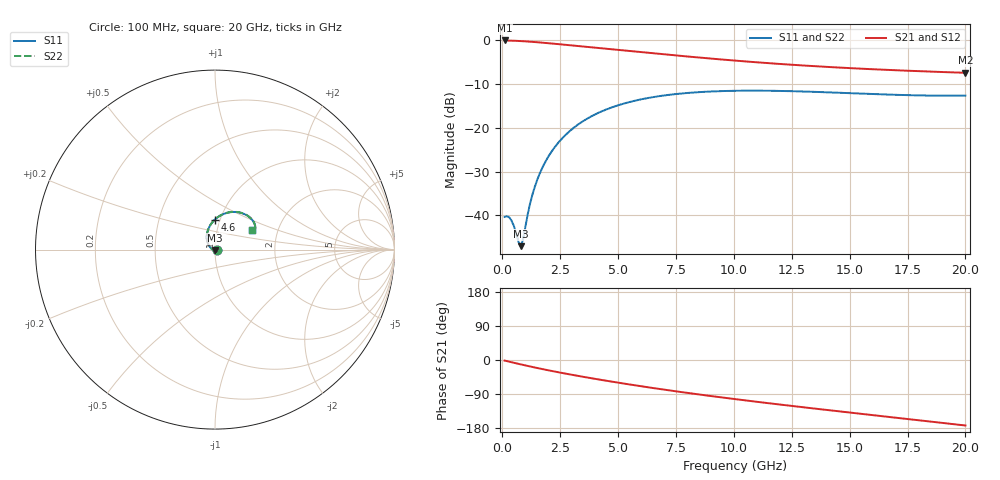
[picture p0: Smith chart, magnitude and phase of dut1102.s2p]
! Touchstone file exported from HFSS 2024.1.0
!  File:  C:/UserFiles/LocalFiles/RDL_TSV_Batchsim/temp_RDL_TSV_1102_1780100773.aedt
!  Generated:  08:36:47 AM May 30, 2026
!  Design:  RDL_TSV
!  Project:  temp_RDL_TSV_1102_1780100773
!  Setup:  Setup1
!  Solution:  Sweep
! Variables:
!  dtsv = 8.98um
!  hbump = 3um
!  htsv = 58.62um
!  ldown = 129.43um
!  lrdl = 570.24um
!  p = 40
!  p1 = 48.9um
!  rhole = 10um
!  subl = 2669.25um
!  t = 450um
!  tdown = 4.1um
!  trdl = 3.95um
!  viad = 10um
!  wdown = 21.9um
!  wrdl = 29.46um
!  xbump = 18um
# GHz S MA R 50.000000
! Terminal data exported
! Port[1] = TM1_1_T1
! Port[2] = TM1_4_T1
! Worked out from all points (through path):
!   200 points, 100 MHz to 20 GHz, reference 50 ohm
!   highest |S21| = -0.09 dB at 100 MHz (marker M1); lowest = -7.5 dB at 20 GHz (marker M2)
!   group delay of S21, straight-line fit = 22.8 ps
!   lowest |S11| = -47.0 dB at 800 MHz (marker M3), VSWR 1.01, Z = 49.9 - j0.439 ohm
!   |S11| at or under -10 dB: start of sweep to end of sweep
!   |S22| runs from -47.0 to -11.5 dB; largest |S21 - S12| = 1.1e-14
!   S11 on the Smith chart (normalised r, x): 100 MHz: 1.02, -0.00; 4.6 GHz: 0.94, +0.32; 20 GHz: 1.46, +0.34
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0.1  0.00962 -0.9  0.9899 -1.5  0.9899 -1.5  0.00962 -0.9
! Gamma 0 0 0 0
! Port Impedance 50 0 50 0
0.3  0.009503 -11.7  0.9867 -4.5  0.9867 -4.5  0.0095 -11.7
0.4  0.00873 -19.9  0.9847 -5.9  0.9847 -5.9  0.008724 -19.9
0.5  0.007588 -30.1  0.9825 -7.4  0.9825 -7.4  0.007578 -30.1
0.7  0.00498 -66.5  0.9771 -10.2  0.9771 -10.2  0.004967 -66.6
0.8  0.004463 -100.1  0.974 -11.6  0.974 -11.6  0.004458 -100.4
0.9  0.005384 -134.8  0.9706 -13.0  0.9706 -13.0  0.005394 -135.1
1.1  0.01038 -172.2  0.963 -15.7  0.963 -15.7  0.01042 -172.4
1.3  0.01725 170.9  0.9545 -18.4  0.9545 -18.4  0.0173 170.9
1.5  0.02511 160.2  0.9454 -21.0  0.9454 -21.0  0.02519 160.2
1.8  0.03814 148.5  0.9308 -24.9  0.9308 -24.9  0.03824 148.5
2.1  0.05213 139.2  0.9156 -28.6  0.9156 -28.6  0.05226 139.2
2.5  0.07151 128.8  0.895 -33.3  0.895 -33.3  0.07169 128.7
3.5  0.1195 108.1  0.8442 -44.4  0.8442 -44.4  0.1198 108.2
4.6  0.1659 90.8  0.7914 -55.8  0.7914 -55.8  0.1663 90.8
5.6  0.1998 78.1  0.7461 -65.5  0.7461 -65.5  0.2003 78.1
6.8  0.2298 65.6  0.6956 -76.6  0.6956 -76.6  0.2305 65.7
8.4  0.2539 52.5  0.6355 -90.2  0.6355 -90.2  0.2547 52.6
10.1  0.2642 42.0  0.5818 -103.6  0.5818 -103.6  0.2651 42.1
13.4  0.2572 29.5  0.5053 -127.6  0.5053 -127.6  0.2582 29.5
16.7  0.2388 25.8  0.4562 -150.3  0.4562 -150.3  0.2399 25.8
20  0.2325 28.6  0.4234 -172.8  0.4234 -172.8  0.2334 28.5
